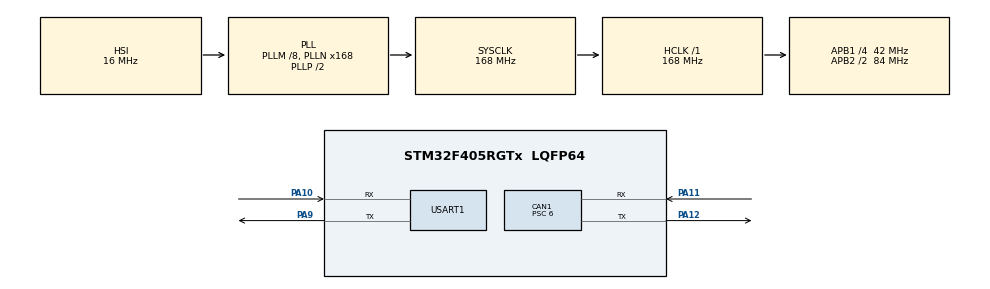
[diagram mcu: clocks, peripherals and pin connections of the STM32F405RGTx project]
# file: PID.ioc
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CAN1.BS1=CAN_BS1_4TQ
CAN1.BS2=CAN_BS2_2TQ
CAN1.CalculateBaudRate=1000000
CAN1.CalculateTimeBit=1000
CAN1.CalculateTimeQuantum=142.85714285714286
CAN1.Prescaler=6
FREERTOS.Tasks01=defaultTask,0,128,StartDefaultTask,Default,NULL,Dynamic,NULL,NULL;PID,0,128,StartTask02,Default,NULL,Dynamic,NULL,NULL;myTask03,-3,128,StartTask03,Default,NULL,Dynamic,NULL,NULL
Mcu.Family=STM32F4
Mcu.Name=STM32F405RGTx
Mcu.Package=LQFP64
NVIC.PriorityGroup=NVIC_PRIORITYGROUP_4
NVIC.TIM4_IRQn=true\:15\:0\:false\:false\:true\:false\:false\:true\:true
NVIC.TimeBase=TIM4_IRQn
NVIC.TimeBaseIP=TIM4
PA10.Mode=Asynchronous
PA10.Signal=USART1_RX
PA11.Mode=CAN_Activate
PA11.Signal=CAN1_RX
PA12.Mode=CAN_Activate
PA12.Signal=CAN1_TX
PA13.Mode=Serial_Wire
PA13.Signal=SYS_JTMS-SWDIO
PA14.Mode=Serial_Wire
PA14.Signal=SYS_JTCK-SWCLK
PA9.Mode=Asynchronous
PA9.Signal=USART1_TX
PC14-OSC32_IN.Mode=LSE-External-Oscillator
PC14-OSC32_IN.Signal=RCC_OSC32_IN
PC15-OSC32_OUT.Mode=LSE-External-Oscillator
PC15-OSC32_OUT.Signal=RCC_OSC32_OUT
PH0-OSC_IN.Mode=HSE-External-Oscillator
PH0-OSC_IN.Signal=RCC_OSC_IN
PH1-OSC_OUT.Mode=HSE-External-Oscillator
PH1-OSC_OUT.Signal=RCC_OSC_OUT
ProjectManager.HeapSize=0x200
ProjectManager.StackSize=0x400
ProjectManager.TargetToolchain=MDK-ARM V5.32
RCC.48MHZClocksFreq_Value=84000000
RCC.AHBFreq_Value=168000000
RCC.APB1CLKDivider=RCC_HCLK_DIV4
RCC.APB1Freq_Value=42000000
RCC.APB1TimFreq_Value=84000000
RCC.APB2CLKDivider=RCC_HCLK_DIV2
RCC.APB2Freq_Value=84000000
RCC.APB2TimFreq_Value=168000000
RCC.CortexFreq_Value=168000000
RCC.HCLKFreq_Value=168000000
RCC.HSE_VALUE=25000000
RCC.HSI_VALUE=16000000
RCC.PLLM=8
RCC.PLLN=168
RCC.SYSCLKFreq_VALUE=168000000
RCC.SYSCLKSource=RCC_SYSCLKSOURCE_PLLCLK
RCC.VCOOutputFreq_Value=336000000
USART1.VirtualMode=VM_ASYNC
VP_FREERTOS_VS_CMSIS_V1.Mode=CMSIS_V1
VP_SYS_VS_tim4.Mode=TIM4
board=custom

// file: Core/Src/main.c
/* USER CODE BEGIN Header */
/**
  ******************************************************************************
  * @file           : main.c
  * @brief          : Main program body
  ******************************************************************************
  * @attention
  *
  * Copyright (c) 2024 STMicroelectronics.
  * All rights reserved.
  *
  * This software is licensed under terms that can be found in the LICENSE file
  * in the root directory of this software component.
  * If no LICENSE file comes with this software, it is provided AS-IS.
  *
  ******************************************************************************
  */
/* USER CODE END Header */
#include "main.h"
#include "cmsis_os.h"

/* USER CODE BEGIN Includes */
#include "stdio.h"
#include "FreeRTOS.h"
#include "task.h"

/* USER CODE END Includes */

/* USER CODE BEGIN PM */
float targetValue =111;
/* USER CODE END PM */

CAN_HandleTypeDef hcan1;

UART_HandleTypeDef huart1;

osThreadId defaultTaskHandle;
osThreadId PIDHandle;
osThreadId myTask03Handle;

void SystemClock_Config(void);
static void MX_GPIO_Init(void);
static void MX_CAN1_Init(void);
static void MX_USART1_UART_Init(void);
void StartDefaultTask(void const * argument);
void StartTask02(void const * argument);
void StartTask03(void const * argument);

/* USER CODE BEGIN 0 */
typedef struct
{
   	float kp, ki, kd; //三个系数
    float error, lastError; //误差、上次误�?
    float integral, maxIntegral; //积分、积分限�?
    float output, maxOutput; //输出、输出限�?
}PID;

PID mypid = {0};

//用于初始化pid参数的函�?
void PID_Init(PID *pid, 	float p, float i, float d, float maxI, float maxOut)
{
    pid->kp = p;
    pid->ki = i;
    pid->kd = d;
    pid->maxIntegral = maxI;
    pid->maxOutput = maxOut;
}

//进行�?次pid计算
//参数�?(pid结构�?,目标�?,反馈�?)，计算结果放在pid结构体的output成员成员�?
void PID_Calc(PID *pid, float reference, float feedback)
{
 	//更新数据
    pid->lastError = pid->error; //将旧error存起�?
    pid->error = reference - feedback; //计算新error
    //计算微分
    static float dout;
		dout = (pid->error - pid->lastError) * pid->kd;
    //计算比例
    static float pout;
		pout	= pid->error * pid->kp;
    //计算积分
    pid->integral += pid->error;
	  static float iout;
		iout = pid->integral* pid->ki;
    //积分限幅
    if(pid->integral > pid->maxIntegral) pid->integral = pid->maxIntegral;
    else if(pid->integral < -pid->maxIntegral) pid->integral = -pid->maxIntegral;
    //计算输出
    pid->output = pout + dout + iout;
    //输出限幅
    if(pid->output > pid->maxOutput) pid->output =   pid->maxOutput;
    else if(pid->output < -pid->maxOutput) pid->output = -pid->maxOutput;
}

void FilterInit(void)
{
	CAN_FilterTypeDef CAN_FilterInitStructure;
	CAN_FilterInitStructure.FilterActivation = ENABLE;
	CAN_FilterInitStructure.FilterBank = 0;
	CAN_FilterInitStructure.FilterFIFOAssignment = CAN_FILTER_FIFO0;
	CAN_FilterInitStructure.FilterIdHigh =0x0000;
	CAN_FilterInitStructure.FilterIdLow = 0x0000;
	CAN_FilterInitStructure.FilterMaskIdHigh = 0x0000;
	CAN_FilterInitStructure.FilterMaskIdLow = 0x0000;
	CAN_FilterInitStructure.FilterMode = CAN_FILTERMODE_IDMASK;
	CAN_FilterInitStructure.FilterScale = CAN_FILTERSCALE_32BIT;
	CAN_FilterInitStructure.SlaveStartFilterBank = 0;
	HAL_CAN_ConfigFilter(&hcan1,&CAN_FilterInitStructure);

	 if(HAL_CAN_ConfigFilter(&hcan1, &CAN_FilterInitStructure) != HAL_OK)
    {
    //  printf("CAN1 ConfigFilter Fail!!\r\n");
    }
    else
    {
     // printf("CAN1 ConfigFilter SUCCESS!!\r\n");
    }
}

void CAN1_Transmit(uint32_t ID, uint8_t Length, uint8_t *Data)
{
	CAN_TxHeaderTypeDef TxMessage = {0};
	uint8_t Tx_Buffer[8] = {0};
	uint32_t box = 0;
	TxMessage.StdId = ID;
	TxMessage.ExtId = ID;
	TxMessage.IDE = CAN_ID_STD;
	TxMessage.RTR = CAN_RTR_DATA;
	TxMessage.DLC = Length;
	TxMessage.TransmitGlobalTime = DISABLE;
	for (uint8_t i = 0; i < Length; i ++)
	{
		Tx_Buffer[i] = Data[i];
	}
	HAL_StatusTypeDef TransmitMailbox;
	TransmitMailbox = HAL_CAN_AddTxMessage(&hcan1,&TxMessage,Tx_Buffer,&box);
	if(TransmitMailbox != HAL_OK )
	{
	//	printf("Transmit Error!");
	}
	else
	{
		//printf("Transmit Success!\r\n");
	}
}

uint8_t CAN1_ReceiveFlag(void)
{
	if (HAL_CAN_GetRxFifoFillLevel(&hcan1, CAN_RX_FIFO0) != 0)
	{
	//	printf("CAN1 has some Message");
		return 1;
	}
	return 0;
}

void CAN1_Receive(uint32_t *ID, uint8_t *Length, uint8_t *Data)
{
//		FilterInit();

		CAN_RxHeaderTypeDef rceStu = {0};
		if(CAN1_ReceiveFlag() != 0)
		{
		if(HAL_CAN_GetRxMessage(&hcan1, CAN_RX_FIFO0, &rceStu, Data)==HAL_OK)
		{
    //printf("rceStu.DLC: %d\r\n",rceStu.DLC);
    //printf("rceStu.ExtId: %d\r\n",rceStu.ExtId);
    //printf("rceStu.StdId: %x\r\n",rceStu.StdId);
    //printf("rceStu.Timestamp: %d\r\n",rceStu.Timestamp);
		for(uint8_t i = 0;i<rceStu.DLC;i++)
    {
     // printf(" %x",Data[i]);
		}
     printf("\r\n");
		}
		}
		else
		{
			//printf("No CAN1 INFO!\r\n");
		}
		osDelay(10);
}

int fputc(int ch, FILE *f)
{
	HAL_UART_Transmit(&huart1,(uint8_t *)&ch,1,HAL_MAX_DELAY);
	return ch;
}

int fgetc(FILE *f)
{
	uint8_t ch;
	HAL_UART_Receive(&huart1,(uint8_t *)&ch,1,HAL_MAX_DELAY);
	return ch;
}
/* USER CODE END 0 */

int main(void)
{

  /* MCU Configuration--------------------------------------------------------*/

  /* Reset of all peripherals, Initializes the Flash interface and the Systick. */
  HAL_Init();

  /* Configure the system clock */
  SystemClock_Config();

  /* Initialize all configured peripherals */
  MX_GPIO_Init();
  MX_CAN1_Init();
  MX_USART1_UART_Init();

  /* Create the thread(s) */
  /* definition and creation of defaultTask */
  osThreadDef(defaultTask, StartDefaultTask, osPriorityNormal, 0, 128);
  defaultTaskHandle = osThreadCreate(osThread(defaultTask), NULL);

  /* definition and creation of PID */
  osThreadDef(PID, StartTask02, osPriorityNormal, 0, 128);
  PIDHandle = osThreadCreate(osThread(PID), NULL);

  /* definition and creation of myTask03 */
  osThreadDef(myTask03, StartTask03, osPriorityIdle, 0, 128);
  myTask03Handle = osThreadCreate(osThread(myTask03), NULL);

  /* Start scheduler */
  osKernelStart();
  /* We should never get here as control is now taken by the scheduler */
  /* Infinite loop */
  while (1)
  {

  }
}

void SystemClock_Config(void)
{
  RCC_OscInitTypeDef RCC_OscInitStruct = {0};
  RCC_ClkInitTypeDef RCC_ClkInitStruct = {0};

  /** Configure the main internal regulator output voltage
  */
  __HAL_RCC_PWR_CLK_ENABLE();
  __HAL_PWR_VOLTAGESCALING_CONFIG(PWR_REGULATOR_VOLTAGE_SCALE1);

  /** Initializes the RCC Oscillators according to the specified parameters
  * in the RCC_OscInitTypeDef structure.
  */
  RCC_OscInitStruct.OscillatorType = RCC_OSCILLATORTYPE_HSI;
  RCC_OscInitStruct.HSIState = RCC_HSI_ON;
  RCC_OscInitStruct.HSICalibrationValue = RCC_HSICALIBRATION_DEFAULT;
  RCC_OscInitStruct.PLL.PLLState = RCC_PLL_ON;
  RCC_OscInitStruct.PLL.PLLSource = RCC_PLLSOURCE_HSI;
  RCC_OscInitStruct.PLL.PLLM = 8;
  RCC_OscInitStruct.PLL.PLLN = 168;
  RCC_OscInitStruct.PLL.PLLP = RCC_PLLP_DIV2;
  RCC_OscInitStruct.PLL.PLLQ = 4;
  if (HAL_RCC_OscConfig(&RCC_OscInitStruct) != HAL_OK)
  {
    Error_Handler();
  }

  /** Initializes the CPU, AHB and APB buses clocks
  */
  RCC_ClkInitStruct.ClockType = RCC_CLOCKTYPE_HCLK|RCC_CLOCKTYPE_SYSCLK
                              |RCC_CLOCKTYPE_PCLK1|RCC_CLOCKTYPE_PCLK2;
  RCC_ClkInitStruct.SYSCLKSource = RCC_SYSCLKSOURCE_PLLCLK;
  RCC_ClkInitStruct.AHBCLKDivider = RCC_SYSCLK_DIV1;
  RCC_ClkInitStruct.APB1CLKDivider = RCC_HCLK_DIV4;
  RCC_ClkInitStruct.APB2CLKDivider = RCC_HCLK_DIV2;

  if (HAL_RCC_ClockConfig(&RCC_ClkInitStruct, FLASH_LATENCY_5) != HAL_OK)
  {
    Error_Handler();
  }
}

static void MX_CAN1_Init(void)
{

  hcan1.Instance = CAN1;
  hcan1.Init.Prescaler = 6;
  hcan1.Init.Mode = CAN_MODE_NORMAL;
  hcan1.Init.SyncJumpWidth = CAN_SJW_1TQ;
  hcan1.Init.TimeSeg1 = CAN_BS1_4TQ;
  hcan1.Init.TimeSeg2 = CAN_BS2_2TQ;
  hcan1.Init.TimeTriggeredMode = DISABLE;
  hcan1.Init.AutoBusOff = DISABLE;
  hcan1.Init.AutoWakeUp = DISABLE;
  hcan1.Init.AutoRetransmission = DISABLE;
  hcan1.Init.ReceiveFifoLocked = DISABLE;
  hcan1.Init.TransmitFifoPriority = DISABLE;
  if (HAL_CAN_Init(&hcan1) != HAL_OK)
  {
    Error_Handler();
  }

}

static void MX_USART1_UART_Init(void)
{

  huart1.Instance = USART1;
  huart1.Init.BaudRate = 115200;
  huart1.Init.WordLength = UART_WORDLENGTH_8B;
  huart1.Init.StopBits = UART_STOPBITS_1;
  huart1.Init.Parity = UART_PARITY_NONE;
  huart1.Init.Mode = UART_MODE_TX_RX;
  huart1.Init.HwFlowCtl = UART_HWCONTROL_NONE;
  huart1.Init.OverSampling = UART_OVERSAMPLING_16;
  if (HAL_UART_Init(&huart1) != HAL_OK)
  {
    Error_Handler();
  }

}

static void MX_GPIO_Init(void)
{

  /* GPIO Ports Clock Enable */
  __HAL_RCC_GPIOC_CLK_ENABLE();
  __HAL_RCC_GPIOH_CLK_ENABLE();
  __HAL_RCC_GPIOA_CLK_ENABLE();

}

void StartDefaultTask(void const * argument)
{
  /* USER CODE BEGIN 5 */
    vTaskDelete(NULL);

  /* Infinite loop */
  for(;;)
  {
    osDelay(1);
  }
  /* USER CODE END 5 */
}

void StartTask02(void const * argument)
{
  /* USER CODE BEGIN StartTask02 */

	HAL_CAN_Start(&hcan1);

	FilterInit();

	PID_Init(&mypid, 5, 1, 1, 2000, 25000);

//	int16_t i = 0;
	uint32_t TxID = 0x1FF;
	uint8_t TxLength = 8;
	uint8_t TxData[8];

	uint32_t RxID;
	uint8_t RxLength;
	uint8_t RxData[8];

//	uint16_t Angel_first;
//	uint16_t Angel;
	int16_t Speed;
  /* Infinite loop */
  for(;;)
  {
		CAN1_Receive(&RxID, &RxLength, RxData);
		Speed = (RxData[2] << 8) | RxData[3];

		float feedbackValue = Speed; //这里获取到被控对象的反馈�?

    PID_Calc(&mypid, targetValue, feedbackValue); //进行PID计算，结果在output成员变量�?

		//printf("Speed = %d\r\n",Speed);

		TxData[0] = (((int16_t)mypid.output*10) >> 8) & 0xff;				//右移八位是因�?16位数据只有后面八位可以存�?8位的数组
		TxData[1] = ((int16_t)mypid.output*10) & 0xff;

		CAN1_Transmit(TxID,TxLength,TxData);

		//printf("Output:%f\n",mypid.output);
		printf("%f,%f\n",targetValue,feedbackValue);

    osDelay(1);  //延时
  }
  /* USER CODE END StartTask02 */
}

void StartTask03(void const * argument)
{
  /* USER CODE BEGIN StartTask03 */
  vTaskDelete(NULL);
  /* Infinite loop */
  for(;;)
  {
    osDelay(1);
  }
  /* USER CODE END StartTask03 */
}

void HAL_TIM_PeriodElapsedCallback(TIM_HandleTypeDef *htim)
{
  if (htim->Instance == TIM4) {
    HAL_IncTick();
  }
}

void Error_Handler(void)
{
  __disable_irq();
  while (1)
  {
  }
}
